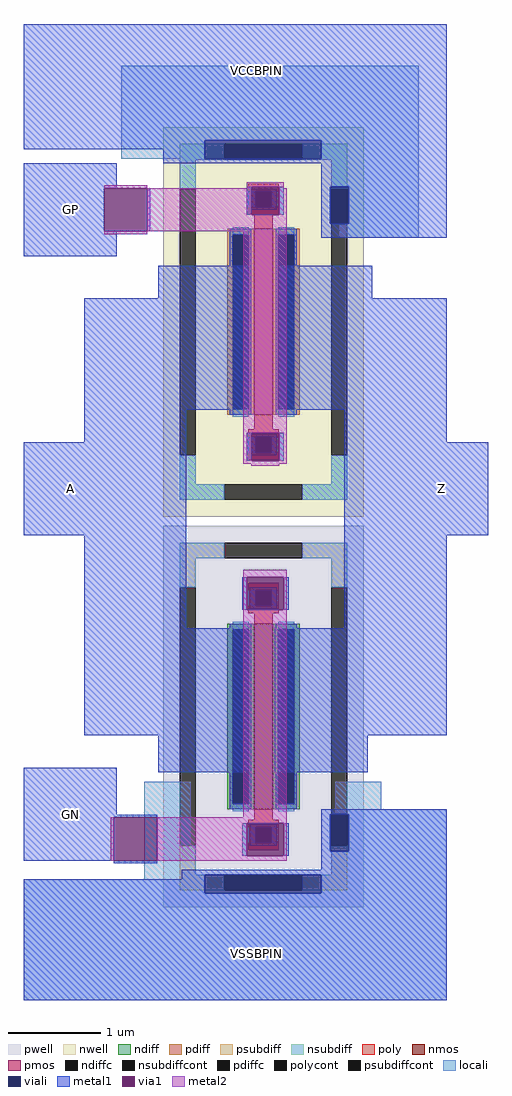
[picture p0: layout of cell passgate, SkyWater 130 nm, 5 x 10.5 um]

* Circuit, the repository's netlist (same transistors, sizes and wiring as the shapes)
** sch_path: /home/ttuser/wowa/xschem/passgate.sch
.subckt passgate A Z GP GN VCCBPIN VSSBPIN
*.PININFO A:B Z:B GP:I GN:I VCCBPIN:I VSSBPIN:I
XM1 Z GN A VSSBPIN sky130_fd_pr__nfet_01v8 L=0.2 W=2 nf=1 ad='int((nf+1)/2) * W/nf * 0.29' as='int((nf+2)/2) * W/nf * 0.29'
+ pd='2*int((nf+1)/2) * (W/nf + 0.29)' ps='2*int((nf+2)/2) * (W/nf + 0.29)' nrd='0.29 / W' nrs='0.29 / W'
+ sa=0 sb=0 sd=0 mult=1 m=1
XM2 Z GP A VCCBPIN sky130_fd_pr__pfet_01v8 L=0.2 W=2 nf=1 ad='int((nf+1)/2) * W/nf * 0.29' as='int((nf+2)/2) * W/nf * 0.29'
+ pd='2*int((nf+1)/2) * (W/nf + 0.29)' ps='2*int((nf+2)/2) * (W/nf + 0.29)' nrd='0.29 / W' nrs='0.29 / W'
+ sa=0 sb=0 sd=0 mult=1 m=1
.ends
.end

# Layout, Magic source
magic
tech sky130A
magscale 1 2
<< locali >>
rect 2410 1150 3050 1310
rect 2410 1110 2590 1150
rect 2840 1110 3050 1150
rect 2880 1050 3050 1110
rect 2900 970 3050 1050
rect 2880 940 3050 970
rect 2460 -440 2560 -230
rect 2870 -290 2970 -230
rect 2870 -300 3110 -290
rect 2900 -380 3110 -300
rect 2200 -470 2590 -440
rect 2870 -440 3110 -380
rect 2840 -470 3110 -440
rect 2200 -700 3110 -470
<< viali >>
rect 2590 1110 2840 1150
rect 2860 970 2900 1050
rect 2860 -380 2900 -300
rect 2590 -470 2840 -430
<< metal1 >>
rect 2200 1150 3110 1400
rect 2200 1130 2590 1150
rect 2500 1110 2590 1130
rect 2840 1110 3110 1150
rect 2500 1100 3110 1110
rect 2200 1047 2400 1100
rect 2840 1050 3110 1100
rect 2200 954 2373 1047
rect 2466 954 2472 1047
rect 2680 990 2690 1050
rect 2750 990 2760 1050
rect 2840 970 2860 1050
rect 2900 970 3110 1050
rect 2200 900 2400 954
rect 2840 940 3110 970
rect 2490 810 2690 880
rect 2330 570 2690 810
rect 2750 810 2950 880
rect 2750 570 3110 810
rect 2330 500 2550 570
rect 2200 300 2550 500
rect 2680 460 2690 520
rect 2750 460 2760 520
rect 2890 500 3110 570
rect 2330 100 2550 300
rect 2890 300 3200 500
rect 2670 140 2680 210
rect 2760 140 2770 210
rect 2890 100 3110 300
rect 2330 -130 2690 100
rect 2200 -301 2400 -200
rect 2490 -210 2690 -130
rect 2740 -130 3110 100
rect 2740 -210 2940 -130
rect 2840 -300 3110 -290
rect 2200 -307 2487 -301
rect 2200 -400 2394 -307
rect 2670 -390 2680 -320
rect 2760 -390 2770 -320
rect 2840 -380 2860 -300
rect 2900 -380 3110 -300
rect 2394 -406 2487 -400
rect 2840 -420 3110 -380
rect 2540 -430 3110 -420
rect 2540 -440 2590 -430
rect 2200 -470 2590 -440
rect 2840 -470 3110 -430
rect 2200 -700 3110 -470
<< via1 >>
rect 2373 954 2466 1047
rect 2690 990 2750 1050
rect 2690 460 2750 520
rect 2680 140 2760 210
rect 2394 -400 2487 -307
rect 2680 -390 2760 -320
<< metal2 >>
rect 2373 1047 2466 1053
rect 2680 1050 2760 1060
rect 2680 1047 2690 1050
rect 2466 990 2690 1047
rect 2750 1047 2760 1050
rect 2750 990 2766 1047
rect 2466 954 2766 990
rect 2373 948 2466 954
rect 2673 520 2766 954
rect 2673 460 2690 520
rect 2750 460 2766 520
rect 2673 454 2766 460
rect 2690 450 2750 454
rect 2673 210 2766 226
rect 2673 140 2680 210
rect 2760 140 2766 210
rect 2673 -307 2766 140
rect 2388 -400 2394 -307
rect 2487 -320 2766 -307
rect 2487 -390 2680 -320
rect 2760 -390 2766 -320
rect 2487 -400 2766 -390
use sky130_fd_pr__nfet_01v8_Q7AWK3  XM1
transform 1 0 2716 0 1 -90
box -216 -410 216 410
use sky130_fd_pr__pfet_01v8_SKB8XJ  XM2
transform -1 0 2716 0 -1 759
box -216 -419 216 419
<< labels >>
flabel metal1 2200 -400 2400 -200 0 FreeSans 1280 0 0 0 GN
port 3 nsew
flabel metal1 3000 300 3200 500 0 FreeSans 1280 0 0 0 Z
port 1 nsew
flabel metal1 2200 300 2400 500 0 FreeSans 1280 0 0 0 A
port 0 nsew
flabel metal1 2200 900 2400 1100 0 FreeSans 1280 0 0 0 GP
port 2 nsew
flabel locali 2600 -700 2800 -500 0 FreeSans 1280 0 0 0 VSSBPIN
port 5 nsew
flabel metal1 2600 1200 2800 1400 0 FreeSans 1280 0 0 0 VCCBPIN
port 4 nsew
<< end >>

# cell sky130_fd_pr__nfet_01v8_Q7AWK3: kit device sky130_fd_pr__nfet_01v8, w 2.0 l 0.2 m 1 nf 1 diffcov 100 polycov 100 guard 1 glc 1 grc 1 gtc 1 gbc 1 tbcov 100 rlcov 100 topc 1 botc 1 poverlap 0 doverlap 1 lmin 0.15 wmin 0.42 compatible {sky130_fd_pr__nfet_01v8 sky130_fd_pr__nfet_01v8_lvt sky130_fd_bs_flash__special_sonosfet_star sky130_fd_pr__nfet_g5v0d10v5 sky130_fd_pr__nfet_05v0_nvt sky130_fd_pr__nfet_03v3_nvt} full_metal 1 viasrc 100 viadrn 100 viagate 100 viagb 0 viagr 0 viagl 0 viagt 0

# cell sky130_fd_pr__pfet_01v8_SKB8XJ: kit device sky130_fd_pr__pfet_01v8, w 2.0 l 0.2 m 1 nf 1 diffcov 100 polycov 100 guard 1 glc 1 grc 1 gtc 1 gbc 1 tbcov 100 rlcov 100 topc 1 botc 1 poverlap 0 doverlap 1 lmin 0.15 wmin 0.42 compatible {sky130_fd_pr__pfet_01v8 sky130_fd_pr__pfet_01v8_lvt sky130_fd_pr__pfet_01v8_hvt sky130_fd_pr__pfet_g5v0d10v5} full_metal 1 viasrc 100 viadrn 100 viagate 100 viagb 0 viagr 0 viagl 0 viagt 0
